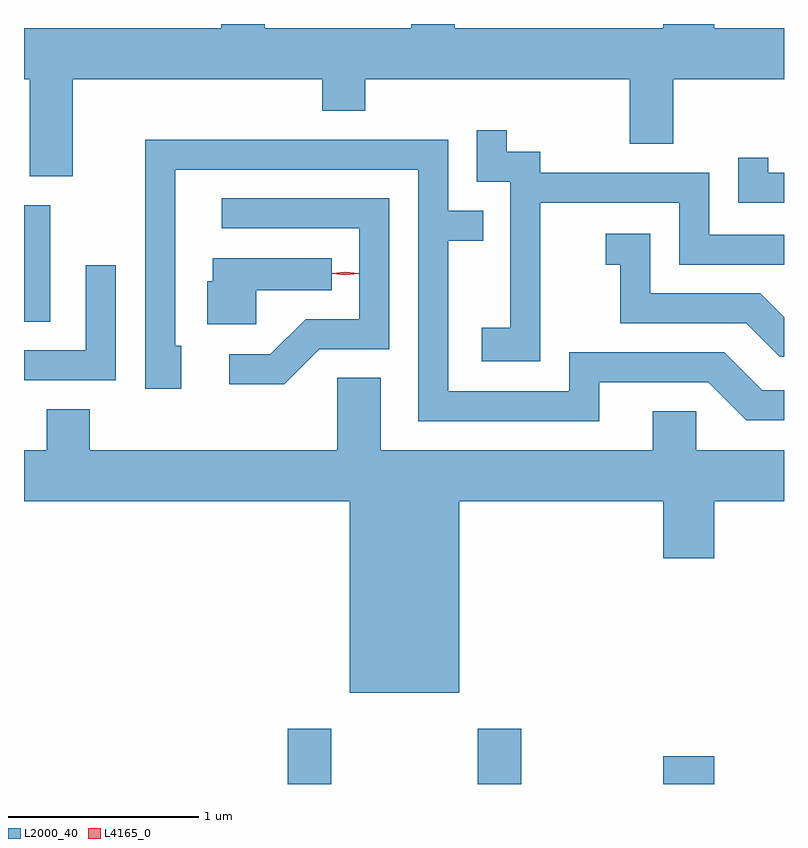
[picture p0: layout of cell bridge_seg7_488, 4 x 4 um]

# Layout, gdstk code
import gdstk
lib = gdstk.Library(unit=1e-6, precision=1e-09)
def R(c, l, rs):  # rectangles x0, y0, x1, y1
    for r in rs: c.add(gdstk.rectangle(r[:2], r[2:], *l))
def P(c, l, *ps):  # polygons
    for p in ps: c.add(gdstk.Polygon(p, *l))
L2000_40 = (2000, 40)
L4165_0 = (4165, 0)

bridge_seg7_488 = lib.new_cell('bridge_seg7_488')
R(bridge_seg7_488, L2000_40, [(1351.961,1692.847,1352.189,1693.139), (1352.961,1692.847,1353.189,1693.139), (1353.936,1692.847,1354.204,1692.994), (1350.572,1695.281,1350.709,1695.894)])
P(bridge_seg7_488, L2000_40, [(1350.829,1696.556),(1352.141,1696.556),(1352.141,1696.391),(1352.369,1696.391),(1352.369,1696.556),(1353.761,1696.556),(1353.761,1696.216),(1353.989,1696.216),(1353.989,1696.556),(1354.572,1696.556),(1354.572,1696.824),(1354.204,1696.824),(1354.204,1696.847),(1353.936,1696.847),(1353.936,1696.824),(1352.839,1696.824),(1352.839,1696.847),(1352.611,1696.847),(1352.611,1696.824),(1351.839,1696.824),(1351.839,1696.847),(1351.611,1696.847),(1351.611,1696.824),(1350.572,1696.824),(1350.572,1696.556),(1350.601,1696.556),(1350.601,1696.046),(1350.829,1696.046)],
  [(1353.289,1695.906),(1354.021,1695.906),(1354.021,1695.581),(1354.572,1695.581),(1354.572,1695.739),(1354.179,1695.739),(1354.179,1696.064),(1353.289,1696.064),(1353.289,1696.174),(1353.114,1696.174),(1353.114,1696.288),(1352.956,1696.288),(1352.956,1696.016),(1353.131,1696.016),(1353.131,1695.249),(1352.981,1695.249),(1352.981,1695.071),(1353.289,1695.071)],
  [(1353.599,1694.961),(1354.174,1694.961),(1354.374,1694.761),(1354.572,1694.761),(1354.572,1694.919),(1354.457,1694.919),(1354.257,1695.119),(1353.441,1695.119),(1353.441,1694.914),(1352.804,1694.914),(1352.804,1695.706),(1352.988,1695.706),(1352.988,1695.864),(1352.804,1695.864),(1352.804,1696.239),(1351.211,1696.239),(1351.211,1694.926),(1351.399,1694.926),(1351.399,1695.154),(1351.369,1695.154),(1351.369,1696.081),(1352.646,1696.081),(1352.646,1694.756),(1353.599,1694.756)],
  [(1354.572,1696.064),(1354.489,1696.064),(1354.489,1696.143),(1354.331,1696.143),(1354.331,1695.906),(1354.572,1695.906)],
  [(1352.127,1695.136),(1352.494,1695.136),(1352.494,1695.929),(1351.613,1695.929),(1351.613,1695.771),(1352.336,1695.771),(1352.336,1695.294),(1352.054,1695.294),(1351.869,1695.109),(1351.653,1695.109),(1351.653,1694.951),(1351.942,1694.951)],
  [(1354.572,1695.304),(1354.447,1695.429),(1353.869,1695.429),(1353.869,1695.744),(1353.633,1695.744),(1353.633,1695.581),(1353.711,1695.581),(1353.711,1695.271),(1354.374,1695.271),(1354.549,1695.096),(1354.572,1695.096)],
  [(1351.794,1695.446),(1352.193,1695.446),(1352.193,1695.614),(1351.566,1695.614),(1351.566,1695.494),(1351.536,1695.494),(1351.536,1695.266),(1351.794,1695.266)],
  [(1351.054,1695.578),(1350.896,1695.578),(1350.896,1695.129),(1350.572,1695.129),(1350.572,1694.971),(1351.054,1694.971)],
  [(1352.864,1694.336),(1353.936,1694.336),(1353.936,1694.036),(1354.204,1694.036),(1354.204,1694.336),(1354.572,1694.336),(1354.572,1694.604),(1354.109,1694.604),(1354.109,1694.809),(1353.881,1694.809),(1353.881,1694.604),(1352.449,1694.604),(1352.449,1694.984),(1352.221,1694.984),(1352.221,1694.604),(1350.919,1694.604),(1350.919,1694.819),(1350.691,1694.819),(1350.691,1694.604),(1350.572,1694.604),(1350.572,1694.336),(1352.286,1694.336),(1352.286,1693.326),(1352.864,1693.326)])
P(bridge_seg7_488, L4165_0, [(1352.264,1695.524),(1352.194,1695.533),(1352.194,1695.534),(1352.194,1695.534),(1352.264,1695.544),(1352.333,1695.534),(1352.333,1695.534),(1352.333,1695.533)],
  [(1352.264,1695.524),(1352.197,1695.533),(1352.197,1695.534),(1352.197,1695.534),(1352.264,1695.544),(1352.33,1695.534),(1352.331,1695.534),(1352.33,1695.533)])

lib.write_gds('bridge_seg7_488.gds')
